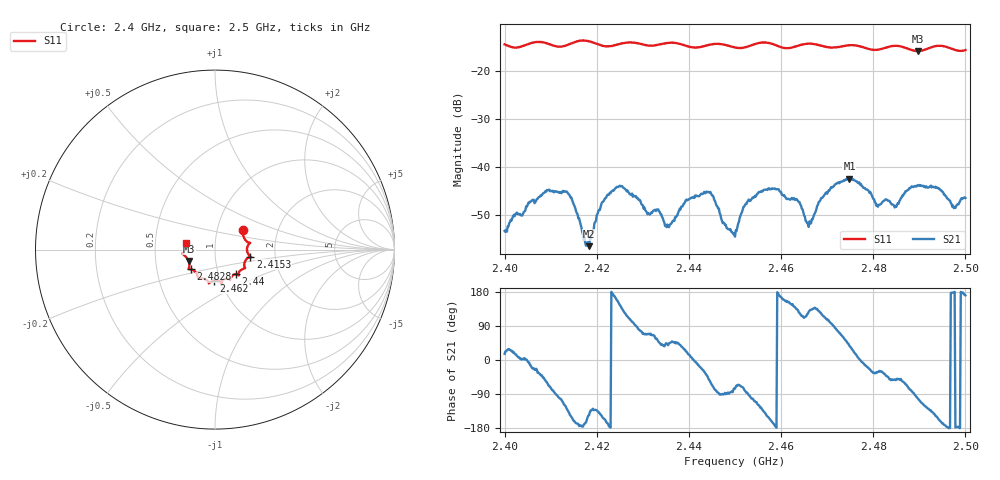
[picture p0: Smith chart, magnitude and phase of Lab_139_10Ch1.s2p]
# Hz S RI R 50
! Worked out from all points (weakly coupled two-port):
!   601 points, 2.4 GHz to 2.5 GHz, reference 50 ohm
!   highest |S21| = -42.42 dB at 2.4748 GHz (marker M1); lowest = -56.5 dB at 2.4183 GHz (marker M2)
!   lowest |S11| = -15.9 dB at 2.4897 GHz (marker M3), VSWR 1.38, Z = 36.9 - j4.82 ohm
!   |S11| at or under -10 dB: start of sweep to end of sweep
!   S12 and S22 are empty: the file has one direction only
!   S11 on the Smith chart (normalised r, x): 2.4 GHz: 1.33, +0.29; 2.4153 GHz: 1.48, -0.12; 2.44 GHz: 1.21, -0.34; 2.462 GHz: 0.93, -0.33; 2.4828 GHz: 0.74, -0.17; 2.5 GHz: 0.72, +0.06
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2.4e9  0.1552 0.1068  0.00207 0.00061  0 0  0 0
2.409167e9  0.1904 0.033  0.00299 -0.00491  0 0  0 0
2.415333e9  0.1962 -0.0386  -0.0036 -0.000979  0 0  0 0
2.416667e9  0.2021 -0.0425  -0.00235 -0.000214  0 0  0 0
2.418333e9  0.1983 -0.0415  -0.00124 -0.000849  0 0  0 0
2.421333e9  0.1725 -0.0567  -0.00387 -0.00197  0 0  0 0
2.4245e9  0.1636 -0.0922  -0.00566 0.00248  0 0  0 0
2.433333e9  0.1308 -0.1333  0.00237 0.00274  0 0  0 0
2.435667e9  0.1321 -0.1444  0.0017 0.00164  0 0  0 0
2.44e9  0.1145 -0.1367  0.00449 0.00113  0 0  0 0
2.444667e9  0.0847 -0.1675  0.00288 -0.00468  0 0  0 0
2.45e9  0.0646 -0.1626  0.000467 -0.00183  0 0  0 0
2.455333e9  0.0367 -0.1918  -0.00289 -0.00468  0 0  0 0
2.462e9  -0.00525 -0.1731  -0.0039 0.00236  0 0  0 0
2.466667e9  -0.0346 -0.1879  -0.00194 0.00209  0 0  0 0
2.469333e9  -0.0425 -0.1743  -0.0021 0.0046  0 0  0 0
2.474833e9  -0.0916 -0.1602  0.00602 0.00459  0 0  0 0
2.482833e9  -0.1364 -0.1096  0.00339 -0.00311  0 0  0 0
2.483333e9  -0.14 -0.1093  0.00306 -0.00323  0 0  0 0
2.489667e9  -0.1471 -0.0636  -0.00125 -0.00623  0 0  0 0
2.4975e9  -0.1666 -0.00155  -0.00372 0.000129  0 0  0 0
2.5e9  -0.1596 0.0389  -0.00469 0.000779  0 0  0 0
